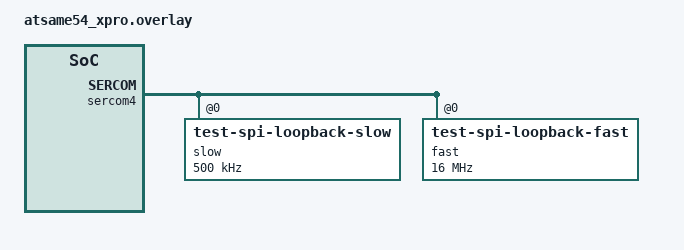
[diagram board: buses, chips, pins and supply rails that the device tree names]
/*
 * Copyright (c) 2020 Stephanos Ioannidis <root@stephanos.io>
 *
 * SPDX-License-Identifier: Apache-2.0
 */

&sercom4 {
	/* Internally connect MOSI to MISO for loop-back operation */
	dipo = <3>;
	dopo = <2>;
	slow@0 {
		compatible = "test-spi-loopback-slow";
		reg = <0>;
		spi-max-frequency = <500000>;
	};
	fast@0 {
		compatible = "test-spi-loopback-fast";
		reg = <0>;
		spi-max-frequency = <16000000>;
	};
};
